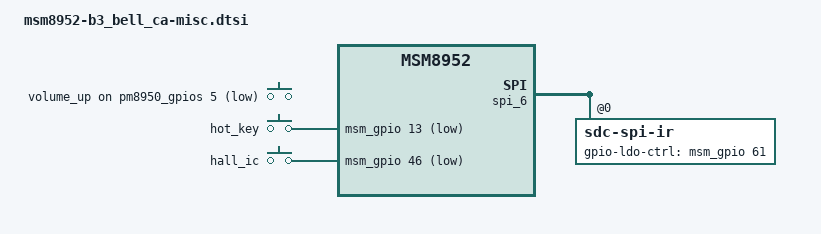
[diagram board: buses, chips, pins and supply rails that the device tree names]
/*
 * Copyright (c) 2015, The Linux Foundation. All rights reserved.
 *
 * This program is free software; you can redistribute it and/or modify
 * it under the terms of the GNU General Public License version 2 and
 * only version 2 as published by the Free Software Foundation.
 *
 * This program is distributed in the hope that it will be useful,
 * but WITHOUT ANY WARRANTY; without even the implied warranty of
 * MERCHANTABILITY or FITNESS FOR A PARTICULAR PURPOSE.  See the
 * GNU General Public License for more details.
 */

&soc {
	gpio_keys {
		compatible = "gpio-keys";
		input-name = "gpio-keys";
		pinctrl-names = "tlmm_gpio_key_active","tlmm_gpio_key_suspend";
		pinctrl-0 = <&gpio_key_active>;
		pinctrl-1 = <&gpio_key_suspend>;

		vol_up {
			label = "volume_up";
			gpios = <&pm8950_gpios 5 0x1>;
			linux,input-type = <1>;
			linux,code = <115>;
			gpio-key,wakeup;
			debounce-interval = <15>;
		};

		hot_key {
			label = "hot_key";
			gpios = <&msm_gpio 13 0x1>;
			linux,input-type = <1>;
			linux,code = <377>;
			gpio-key,wakeup;
			debounce-interval = <160>;
		};

		hall_ic {
			label = "hall_ic";
			gpios = <&msm_gpio 46 0x1>;
			linux,input-type = <5>;
			linux,code = <0>;
			gpio-key,wakeup;
			debounce-interval = <15>;
		};
	};
	spi_6: spi@7af6000 {
		sdc-spi-ir@0 {
			lge,ext-ldo-ctrl = <1>;
			lge,gpio-ldo-ctrl = <&msm_gpio 61 0>;
			pinctrl-names = "irrc_default", "irrc_sleep";
			pinctrl-0 = <&irrc_default>;
			pinctrl-1 = <&irrc_sleep>;
		};
	};
};
